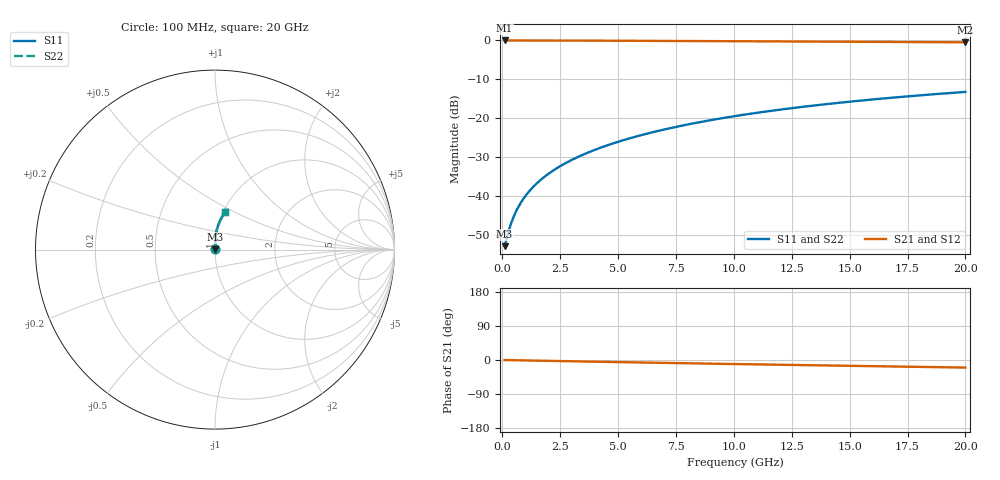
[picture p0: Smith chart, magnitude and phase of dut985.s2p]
! Touchstone file exported from HFSS 2024.1.0
!  File:  C:/UserFiles/LocalFiles/RDL_TSV_Batchsim/temp_RDL_top_985_1779939389.aedt
!  Generated:  11:38:50 AM May 28, 2026
!  Design:  RDL_top
!  Project:  temp_RDL_top_985_1779939389
!  Setup:  Setup1
!  Solution:  Sweep
! Variables:
!  dtsv = 10.80580581um
!  hbump = 3um
!  htsv = 56.15um
!  ldown = 100um
!  lrdl = 248.55um
!  p = 40
!  p1 = 48.26um
!  rhole = 1um
!  t = 450um
!  tdown = 3.915915916um
!  trdl = 2.38um
!  wdown = 15.38538539um
!  wrdl = 22.23um
# GHz S MA R 50.000000
! Terminal data exported
! Port[1] = Box2_T1
! Port[2] = Box2_T2
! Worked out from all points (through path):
!   200 points, 100 MHz to 20 GHz, reference 50 ohm
!   highest |S21| = -0.02 dB at 100 MHz (marker M1); lowest = -0.5 dB at 20 GHz (marker M2)
!   group delay of S21, straight-line fit = 2.75 ps
!   lowest |S11| = -52.9 dB at 100 MHz (marker M3), VSWR 1.00, Z = 50.2 + j0.105 ohm
!   |S11| at or under -10 dB: start of sweep to end of sweep
!   |S22| runs from -52.9 to -13.2 dB; largest |S21 - S12| = 2e-15
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0.1  0.002261 27.6  0.998 -0.1  0.998 -0.1  0.002261 27.6
! Gamma 0 0 0 0
! Port Impedance 50 0 50 0
0.3  0.003734 55.5  0.9978 -0.4  0.9978 -0.4  0.003734 55.5
0.4  0.004603 61.8  0.9978 -0.5  0.9978 -0.5  0.004603 61.8
0.5  0.005489 66.0  0.9977 -0.6  0.9977 -0.6  0.005489 66.0
0.6  0.006381 69.1  0.9976 -0.7  0.9976 -0.7  0.006381 69.1
0.7  0.007277 71.4  0.9975 -0.8  0.9975 -0.8  0.007277 71.4
0.9  0.009081 74.9  0.9973 -1.0  0.9973 -1.0  0.009081 74.9
1.2  0.01182 78.4  0.997 -1.4  0.997 -1.4  0.01182 78.4
1.4  0.01367 80.0  0.9968 -1.6  0.9968 -1.6  0.01367 80.0
1.7  0.01648 81.8  0.9964 -2.0  0.9964 -2.0  0.01648 81.8
2.2  0.02124 83.9  0.9957 -2.5  0.9957 -2.5  0.02124 83.9
2.8  0.02709 85.5  0.9948 -3.2  0.9948 -3.2  0.02709 85.5
3.5  0.03408 86.6  0.9934 -4.0  0.9934 -4.0  0.03408 86.6
4.2  0.04125 87.2  0.9919 -4.7  0.9919 -4.7  0.04125 87.2
5  0.04968 87.6  0.9899 -5.6  0.9899 -5.6  0.04967 87.6
5.9  0.0594 87.6  0.9875 -6.5  0.9875 -6.5  0.0594 87.6
6.8  0.06935 87.4  0.985 -7.5  0.985 -7.5  0.06934 87.4
8.4  0.08742 86.4  0.9804 -9.1  0.9804 -9.1  0.08741 86.4
10.1  0.1069 85.0  0.9754 -10.7  0.9754 -10.7  0.1069 85.0
13.4  0.1448 81.8  0.9655 -13.9  0.9655 -13.9  0.1448 81.8
16.7  0.1818 78.3  0.9554 -17.0  0.9554 -17.0  0.1818 78.3
20  0.2177 74.9  0.945 -20.0  0.945 -20.0  0.2177 74.9
